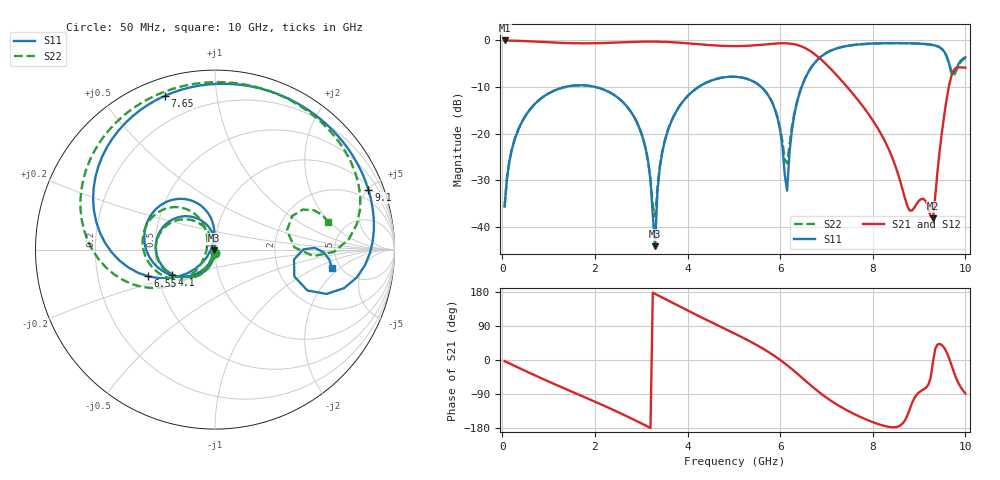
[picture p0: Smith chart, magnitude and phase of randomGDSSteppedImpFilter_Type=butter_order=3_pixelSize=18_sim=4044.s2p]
! freq	dB(S11)	phase(S11)	dB(S12)	phase(S12)
!  dB(S21)	phase(S21)	dB(S22)	phase(S22)
!S-par simulation data
#  GHz  S  DB  R 50
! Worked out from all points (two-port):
!   200 points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, 50 MHz to 10 GHz, reference 50 ohm
!   highest |S21| = -0.01 dB at 50 MHz (marker M1); lowest = -38.2 dB at 9.3 GHz (marker M2)
!   |S21| within 3 dB of the highest: start of sweep to 6.753 GHz
!   lowest |S11| = -44.2 dB at 3.3 GHz (marker M3), VSWR 1.01, Z = 49.5 - j0.323 ohm
!   |S11| at or under -10 dB: start of sweep to 1.356 GHz; 2.012 GHz to 4.239 GHz (2.227 GHz wide, 71.3 % of centre); 5.59 GHz to 6.465 GHz (874.6 MHz wide, 14.5 % of centre)
!   |S22| runs from -37.8 to -0.6 dB; largest |S21 - S12| = 0
!   S11 on the Smith chart (normalised r, x): 50 MHz: 1.00, -0.03; 4.1 GHz: 0.59, -0.18; 6.55 GHz: 0.44, -0.16; 7.65 GHz: 0.08, +0.72; 9.1 GHz: 1.19, +5.04; 10 GHz: 4.29, -1.52
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0.05  -35.69 -92.7  -0.01 -3.0  -0.01 -3.0  -35.69 -92.7
0.2  -23.68 -102.3  -0.04 -11.7  -0.04 -11.7  -23.66 -101.9
0.5  -16.20 -119.9  -0.15 -29.0  -0.15 -29.0  -16.20 -119.0
1.75  -9.64 171.2  -0.62 -96.7  -0.62 -96.7  -9.64 174.6
2.95  -18.56 103.0  -0.28 -164.0  -0.28 -164.0  -18.55 112.5
3.15  -26.10 90.9  -0.24 -176.2  -0.24 -176.2  -25.98 107.8
3.3  -44.19 -148.1  -0.25 174.4  -0.25 174.4  -37.81 -158.4
3.4  -27.45 -105.8  -0.27 168.2  -0.27 168.2  -27.08 -114.0
4.1  -11.04 -149.5  -0.70 124.5  -0.70 124.5  -11.01 -144.0
5.05  -7.82 153.1  -1.22 67.8  -1.22 67.8  -7.81 163.1
5.85  -13.86 100.2  -0.71 13.0  -0.71 13.0  -13.77 117.4
6.15  -32.29 -172.4  -0.62 -13.8  -0.62 -13.8  -26.41 -173.6
6.3  -16.31 -135.9  -0.81 -28.8  -0.81 -28.8  -15.91 -132.2
6.55  -7.94 -158.2  -1.69 -55.2  -1.69 -55.2  -7.86 -147.9
6.7  -5.41 -173.5  -2.62 -70.9  -2.62 -70.9  -5.36 -161.6
7.65  -0.90 108.1  -12.42 -145.6  -12.42 -145.6  -0.90 125.7
8.35  -0.59 65.8  -23.50 -176.5  -23.50 -176.5  -0.59 86.2
8.8  -0.61 39.8  -36.55 -129.2  -36.55 -129.2  -0.62 61.4
9.1  -0.75 21.3  -34.06 -77.5  -34.06 -77.5  -0.75 43.3
9.3  -0.99 7.2  -38.21 -5.1  -38.21 -5.1  -0.99 29.0
9.65  -4.98 -23.9  -9.56 4.2  -9.56 4.2  -5.21 -3.8
10  -3.62 -8.8  -5.86 -88.5  -5.86 -88.5  -3.77 14.0
